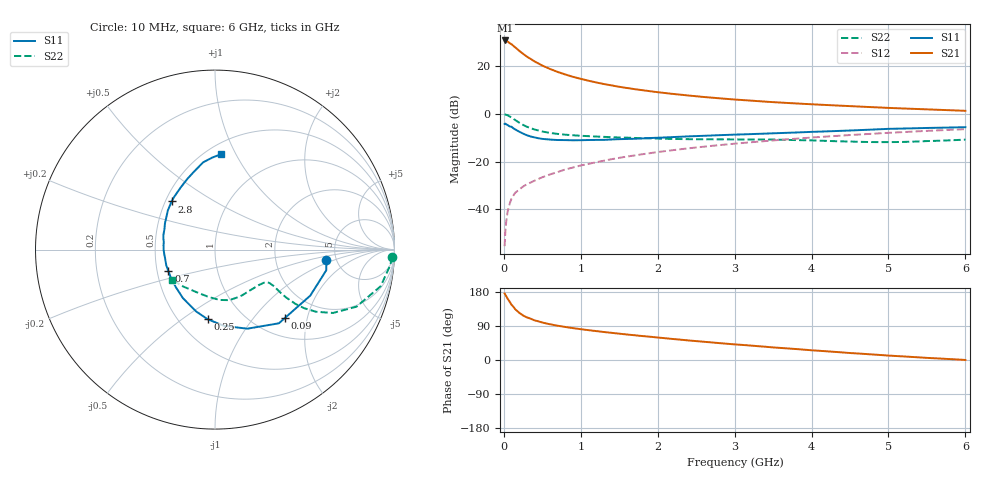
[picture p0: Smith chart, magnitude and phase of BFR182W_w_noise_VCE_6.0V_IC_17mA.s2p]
! Infineon Technologies  Discrete & RF Semiconductors
! BFR182W
! VCE =  6.0 V,  IC =  17 mA
! Common Emitter S-Parameters:  Jan 2017
# GHz  S  MA  R  50
!  f  S11  S21  S12  S22
! GHz  MAG  ANG  MAG  ANG  MAG  ANG  MAG  ANG
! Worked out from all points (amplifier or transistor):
!   77 points, 10 MHz to 6 GHz, reference 50 ohm
!   highest |S21| = 30.9 dB at 20 MHz (marker M1)
!   |S21| within 3 dB of that: start of sweep to 152 MHz
!   unconditionally stable (mu >= 1): 893.8 MHz to 2.405 GHz
!   at 130 MHz: K = 0.39, MSG = 31.2 dB, |S12| = -33.9 dB
!   at 2.2 GHz: K = 1.01, MAG = 11.1 dB, |S12| = -15.1 dB
!   at 6 GHz: K = 0.87, MSG = 3.9 dB, |S12| = -6.3 dB
!   lowest NFmin = 1.32 dB at 450 MHz
!   S11 on the Smith chart (normalised r, x): 10 MHz: 4.15, -0.78; 90 MHz: 1.36, -1.47; 250 MHz: 0.69, -0.63; 700 MHz: 0.57, -0.15; 2.8 GHz: 0.54, +0.33; 6 GHz: 0.59, +0.87
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0.01  0.6231 -5.3  34.86 175.6  0.0017 92.1  0.9888 -2.4
0.02  0.6306 -10.5  35.04 172.2  0.0035 90.9  0.98 -5.1
0.05  0.5894 -25.8  33.14 161.3  0.0091 78.9  0.9458 -12.4
0.09  0.545 -44.2  29.83 149.1  0.0153 71.8  0.8669 -19.9
0.1  0.5434 -49.1  29.24 145.7  0.0169 70.9  0.8498 -22.0
0.15  0.4759 -67.8  24.97 133.6  0.0226 66.9  0.7468 -28.2
0.2  0.4278 -83.3  21.3 124.6  0.0261 65.5  0.6612 -31.6
0.25  0.3899 -96.1  18.39 117.5  0.0303 63.4  0.5951 -33.3
0.3  0.3604 -106.9  16.01 112.4  0.0337 63.3  0.5426 -34.0
0.4  0.3242 -123.4  12.69 104.5  0.0402 64.4  0.4742 -33.9
0.5  0.3023 -136.2  10.42 98.9  0.0473 65.6  0.4314 -33.2
0.6  0.2924 -146.9  8.85 94.3  0.0543 66.1  0.4033 -32.4
0.7  0.2861 -155.1  7.663 90.5  0.061 68.3  0.3843 -31.8
0.9  0.2824 -168.9  6.044 84.1  0.0759 68.9  0.3599 -31.5
1.1  0.2861 -179.5  5.016 78.8  0.0904 69.6  0.345 -32.1
1.5  0.2984 164.3  3.744 69.5  0.121 68.9  0.3236 -35.6
2.1  0.3242 147.0  2.764 57.4  0.1678 66.2  0.304 -45.2
2.8  0.3614 132.0  2.146 44.6  0.2236 61.7  0.296 -59.9
3.1  0.3756 125.9  1.973 39.8  0.2477 59.5  0.2935 -66.1
4.1  0.4293 109.7  1.579 24.3  0.3305 51.1  0.2776 -87.1
5.1  0.4944 96.6  1.33 10.5  0.4127 41.7  0.2595 -117.8
6  0.5316 86.6  1.173 0.1  0.4833 32.7  0.2921 -145.1
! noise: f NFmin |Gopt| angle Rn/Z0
0.45  1.32  0.06  165  0.15
0.9  1.38  0.07  166  0.15
1.9  1.89  0.25  -146  0.15
2.4  2.15  0.25  -131  0.24
